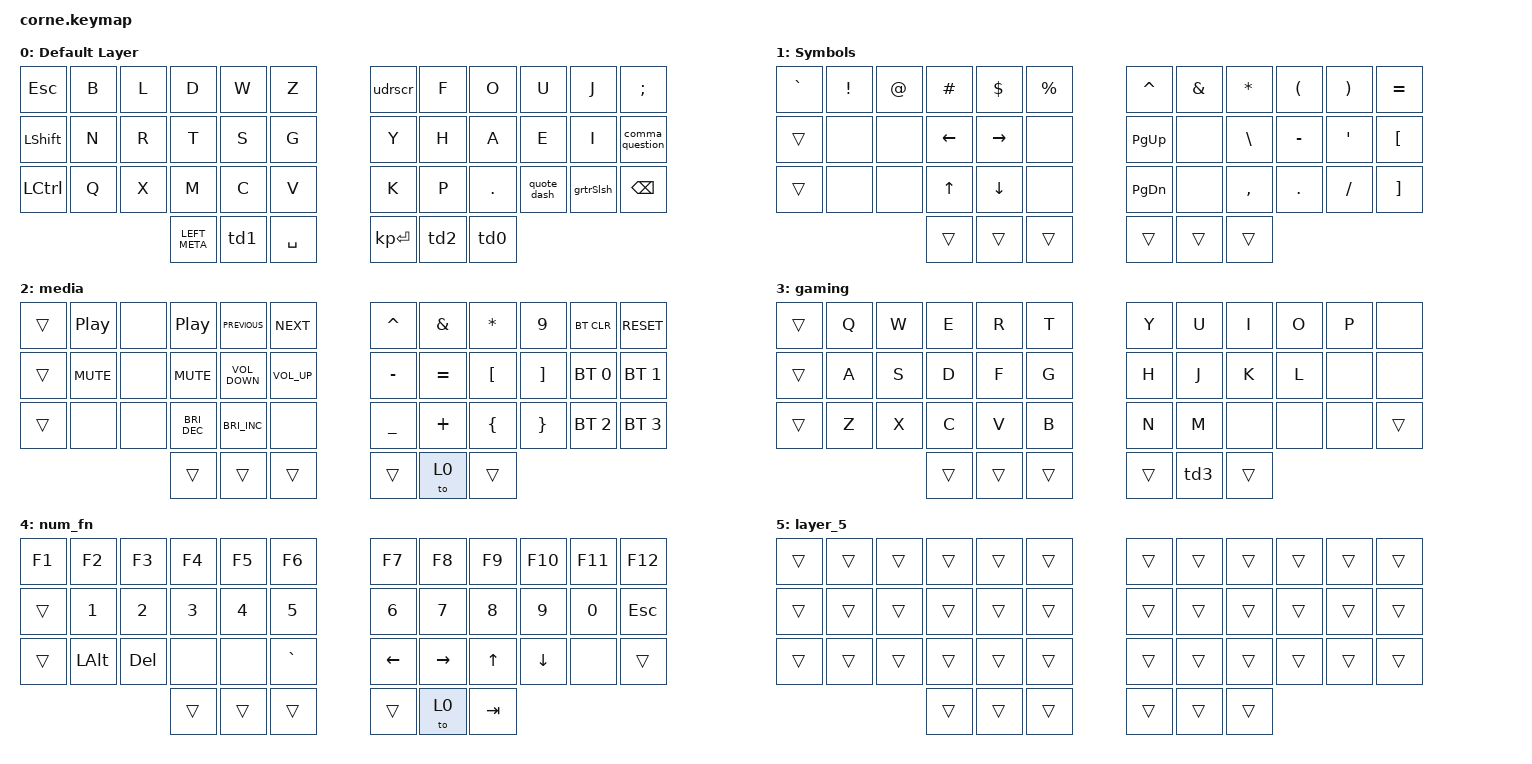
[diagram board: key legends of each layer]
/*
 * Copyright (c) 2020 The ZMK Contributors
 *
 * SPDX-License-Identifier: MIT
 */

#include <behaviors.dtsi>
#include <dt-bindings/zmk/bt.h>
#include <dt-bindings/zmk/keys.h>

/ {
    behaviors {
        td0: tap_dance_0 {
            compatible = "zmk,behavior-tap-dance";
            #binding-cells = <0>;
            tapping-term-ms = <200>;
            bindings = <&kp LG(D)>, <&to 2>;
        };

        td1: tap_dance_1 {
            compatible = "zmk,behavior-tap-dance";
            #binding-cells = <0>;
            tapping-term-ms = <200>;
            bindings = <&mo 4>, <&to 4>;
        };

        td2: tap_dance_2 {
            compatible = "zmk,behavior-tap-dance";
            #binding-cells = <0>;
            tapping-term-ms = <200>;
            bindings = <&mo 1>, <&to 3>;
        };

        td3: tap_dance_3 {
            compatible = "zmk,behavior-tap-dance";
            #binding-cells = <0>;
            tapping-term-ms = <200>;
            bindings = <&to 0>, <&to 1>;
        };

        udrscr: underscore {
            compatible = "zmk,behavior-mod-morph";
            bindings = <&kp GRAVE ACCENT>, <&kp UNDERSCORE>;

            mods = <(MOD_LSFT|MOD_RSFT)>;
        };

        grtrSlsh: grtrSlsh {
            compatible = "zmk,behavior-mod-morph";
            label = "GRTRSLSH";
            bindings = <&kp SLASH>, <&kp LESS_THAN>;

            #binding-cells = <0>;
            mods = <(MOD_LSFT|MOD_RSFT)>;
        };

        quote_dash: quote_dash {
            compatible = "zmk,behavior-mod-morph";
            label = "QUOTE_DASH";
            bindings = <&kp MINUS>, <&kp DOUBLE_QUOTES>;

            #binding-cells = <0>;
            mods = <(MOD_LSFT|MOD_RSFT)>;
        };

        comma_question: comma_question {
            compatible = "zmk,behavior-mod-morph";
            label = "COMMA_QUESTION";
            bindings = <&kp COMMA>, <&kp QUESTION>;

            #binding-cells = <0>;
            mods = <(MOD_LSFT|MOD_RSFT)>;
        };
    };

    keymap {
        compatible = "zmk,keymap";

        default_layer {
            display-name = "Default Layer";

            // -----------------------------------------------------------------------------------------
            // |  TAB |  Q  |  W  |  E  |  R  |  T  |   |  Y  |  U   |  I  |  O  |  P  | BSPC |
            // | CTRL |  A  |  S  |  D  |  F  |  G  |   |  H  |  J   |  K  |  L  |  ;  |  '   |
            // | SHFT |  Z  |  X  |  C  |  V  |  B  |   |  N  |  M   |  ,  |  .  |  /  | ESC  |
            //                    | GUI | LWR | SPC |   | ENT | RSE  | ALT |

            bindings = <
&kp ESC           &kp B  &kp L  &kp D          &kp W  &kp Z        &udrscr       &kp F  &kp O       &kp U        &kp J      &kp SEMICOLON
&kp LEFT_SHIFT    &kp N  &kp R  &kp T          &kp S  &kp G        &kp Y         &kp H  &kp A       &kp E        &kp I      &comma_question
&kp LEFT_CONTROL  &kp Q  &kp X  &kp M          &kp C  &kp V        &kp K         &kp P  &kp PERIOD  &quote_dash  &grtrSlsh  &kp BACKSPACE
                                &kp LEFT_META  &td1   &kp SPACE    &kp KP_ENTER  &td2   &td0
            >;
        };

        symbols {
            display-name = "Symbols";

            // -----------------------------------------------------------------------------------------
            // |  TAB |  1  |  2  |  3  |  4  |  5  |   |  6  |  7  |  8  |  9  |  0  | BSPC |
            // | BTCLR| BT1 | BT2 | BT3 | BT4 | BT5 |   | LFT | DWN |  UP | RGT |     |      |
            // | SHFT |     |     |     |     |     |   |     |     |     |     |     |      |
            //                    | GUI |     | SPC |   | ENT |     | ALT |

            bindings = <
&kp GRAVE  &kp EXCLAMATION  &kp AT_SIGN  &kp HASH        &kp DOLLAR       &kp PERCENT    &kp CARET      &kp AMPERSAND  &kp ASTERISK   &kp LEFT_PARENTHESIS  &kp RIGHT_PARENTHESIS  &kp EQUAL
&trans     &none            &none        &kp LEFT_ARROW  &kp RIGHT_ARROW  &none          &kp PAGE_UP    &none          &kp BACKSLASH  &kp MINUS             &kp SINGLE_QUOTE       &kp LEFT_BRACKET
&trans     &none            &none        &kp UP_ARROW    &kp DOWN_ARROW   &none          &kp PAGE_DOWN  &none          &kp COMMA      &kp PERIOD            &kp SLASH              &kp RIGHT_BRACKET
                                         &trans          &trans           &trans         &trans         &trans         &trans
            >;
        };

        media {
            display-name = "media";

            // -----------------------------------------------------------------------------------------
            // |  TAB |  !  |  @  |  #  |  $  |  %  |   |  ^  |  &  |  *  |  (  |  )  | BSPC |
            // | CTRL |     |     |     |     |     |   |  -  |  =  |  [  |  ]  |  \  |  `   |
            // | SHFT |     |     |     |     |     |   |  _  |  +  |  {  |  }  | "|" |  ~   |
            //                    | GUI |     | SPC |   | ENT |     | ALT |

            bindings = <
&trans  &kp C_PLAY_PAUSE  &none  &kp C_PLAY_PAUSE      &kp C_PREVIOUS        &kp C_NEXT         &kp CARET  &kp AMPS   &kp ASTRK  &kp NUMBER_9  &bt BT_CLR    &kp C_RESET
&trans  &kp C_MUTE        &none  &kp C_MUTE            &kp C_VOLUME_DOWN     &kp C_VOLUME_UP    &kp MINUS  &kp EQUAL  &kp LBKT   &kp RBKT      &bt BT_SEL 0  &bt BT_SEL 1
&trans  &none             &none  &kp C_BRIGHTNESS_DEC  &kp C_BRIGHTNESS_INC  &none              &kp UNDER  &kp PLUS   &kp LBRC   &kp RBRC      &bt BT_SEL 2  &bt BT_SEL 3
                                 &trans                &trans                &trans             &trans     &to 0      &trans
            >;
        };

        gaming {
            display-name = "gaming";
            bindings = <
&trans  &kp Q  &kp W  &kp E   &kp R   &kp T     &kp Y   &kp U  &kp I   &kp O  &kp P  &none
&trans  &kp A  &kp S  &kp D   &kp F   &kp G     &kp H   &kp J  &kp K   &kp L  &none  &none
&trans  &kp Z  &kp X  &kp C   &kp V   &kp B     &kp N   &kp M  &none   &none  &none  &trans
                      &trans  &trans  &trans    &trans  &td3   &trans
            >;
        };

        num_fn {
            display-name = "num_fn";
            bindings = <
&kp F1  &kp F2        &kp F3        &kp F4        &kp F5        &kp F6       &kp F7        &kp F8     &kp F9        &kp F10   &kp F11  &kp F12
&trans  &kp NUMBER_1  &kp NUMBER_2  &kp NUMBER_3  &kp NUMBER_4  &kp N5       &kp NUMBER_6  &kp N7     &kp N8        &kp N9    &kp N0   &kp ESCAPE
&trans  &kp LEFT_ALT  &kp DELETE    &none         &none         &kp GRAVE    &kp LEFT      &kp RIGHT  &kp UP_ARROW  &kp DOWN  &none    &trans
                                    &trans        &trans        &trans       &trans        &to 0      &kp TAB
            >;
        };

        layer_5 {
            bindings = <
&trans  &trans  &trans  &trans  &trans  &trans    &trans  &trans  &trans  &trans  &trans  &trans
&trans  &trans  &trans  &trans  &trans  &trans    &trans  &trans  &trans  &trans  &trans  &trans
&trans  &trans  &trans  &trans  &trans  &trans    &trans  &trans  &trans  &trans  &trans  &trans
                        &trans  &trans  &trans    &trans  &trans  &trans
            >;
        };
    };
};
